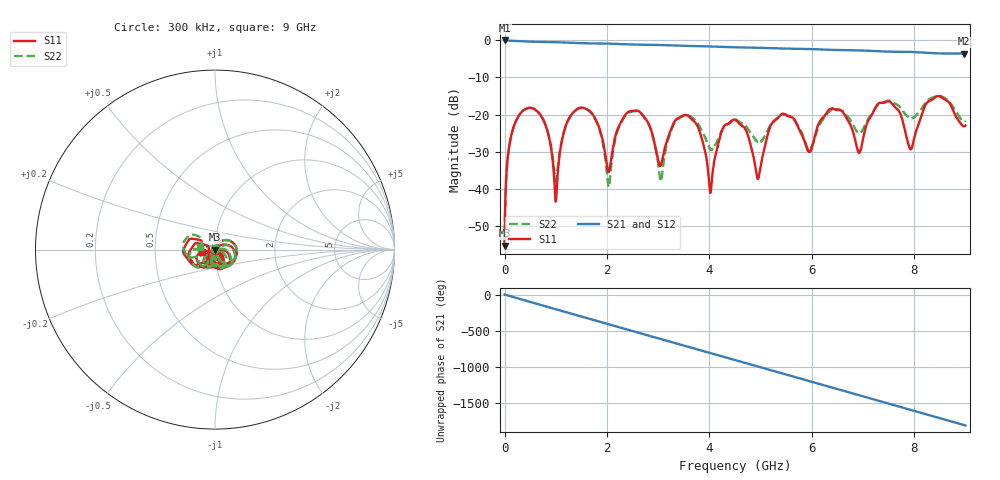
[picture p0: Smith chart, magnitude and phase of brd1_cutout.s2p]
!Agilent Technologies,E8803A,US42160105,A.06.04.32
!Agilent E8803A: A.06.04.32
!Date: Wednesday, April 19, 2023 22:20:21
!Correction: S11(Full 2 Port(1,2)) S21(Full 2 Port(1,2)) S12(Full 2 Port(1,2)) S22(Full 2 Port(1,2))
!S2P File: Measurements: S11, S21, S12, S22:
# Hz S  dB  R 50
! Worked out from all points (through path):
!   6401 points, 300 kHz to 9 GHz, reference 50 ohm
!   highest |S21| = -0.02 dB at 300 kHz (marker M1); lowest = -3.6 dB at 8.969 GHz (marker M2)
!   group delay of S21, straight-line fit = 560 ps
!   lowest |S11| = -55.4 dB at 300 kHz (marker M3), VSWR 1.00, Z = 50.2 + j0.0547 ohm
!   |S11| at or under -10 dB: start of sweep to end of sweep
!   |S22| runs from -55.5 to -14.9 dB; largest |S21 - S12| = 0.0039
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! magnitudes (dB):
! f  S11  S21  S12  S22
! 300 kHz  -55.4  0.0  0.0  -55.5
! 90.3 MHz  -28.5  -0.1  -0.1  -28.5
! 290 MHz  -20.0  -0.2  -0.2  -20.0
! 747 MHz  -21.1  -0.4  -0.4  -21.1
! 1 GHz  -43.4  -0.5  -0.5  -37.8
! 1.501 GHz  -18.1  -0.7  -0.7  -18.2
! 2.029 GHz  -35.5  -0.9  -0.9  -39.4
! 2.463 GHz  -19.1  -1.1  -1.1  -19.3
! 3.001 GHz  -32.3  -1.2  -1.2  -33.5
! 3.568 GHz  -20.2  -1.5  -1.5  -20.1
! 4.023 GHz  -40.9  -1.6  -1.6  -29.4
! 4.5 GHz  -21.4  -1.9  -1.9  -21.3
! 4.945 GHz  -37.1  -2.0  -2.0  -27.4
! 5.414 GHz  -19.9  -2.2  -2.2  -20.1
! 6.001 GHz  -29.0  -2.4  -2.4  -28.5
! 6.401 GHz  -18.4  -2.6  -2.5  -18.7
! 6.93 GHz  -30.2  -2.7  -2.7  -24.9
! 7.501 GHz  -16.4  -3.0  -3.0  -16.2
! 7.926 GHz  -29.3  -3.1  -3.1  -20.9
! 8.44 GHz  -15.1  -3.5  -3.5  -14.9
! 8.969 GHz  -23.1  -3.6  -3.6  -21.8
! 9 GHz  -23.0  -3.6  -3.6  -21.6
